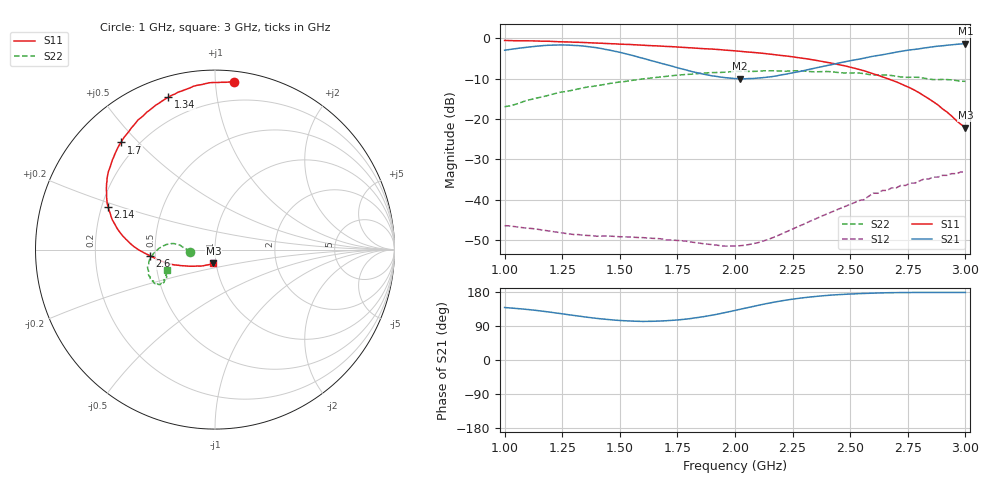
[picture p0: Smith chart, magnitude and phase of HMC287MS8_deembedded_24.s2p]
!Hittite Microwave Corporation
!12 Elizabeth Drive
!Chelmsford, MA 01824
!Tel: 978-250-3343
!Fax: 978-250-3373
!Device: HMC287MS8, 2.3-2.5 GHz LNA with AGC in 8-lead Grounded Base surface Mount Plastic Package
!Misc: Vdd = +3V Idd = 9.6 mA Vctl = 2.4V , DEEMBEDDED TO THE PINS OF THE DEVICE
# MHZ S MA R 50
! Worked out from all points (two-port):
!   101 points, 1 GHz to 3 GHz, reference 50 ohm
!   highest |S21| = -1.29 dB at 3 GHz (marker M1); lowest = -10.0 dB at 2.02 GHz (marker M2)
!   |S21| within 3 dB of the highest: start of sweep to 1.558 GHz; 2.616 GHz to end of sweep
!   lowest |S11| = -22.2 dB at 3 GHz (marker M3), VSWR 1.17, Z = 48.5 - j7.56 ohm
!   |S11| at or under -10 dB: 2.662 GHz to end of sweep
!   |S22| runs from -17.0 to -8.0 dB; largest |S21 - S12| = 0.88
!   S11 on the Smith chart (normalised r, x): 1 GHz: 0.07, +1.12; 1.34 GHz: 0.09, +0.74; 1.7 GHz: 0.14, +0.45; 2.14 GHz: 0.23, +0.18; 2.6 GHz: 0.47, -0.04; 3 GHz: 0.97, -0.15
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1000  0.941 83.6  0.712 138.6  0.004757 156.6  0.142 -173.5
1100  0.931 90.7  0.777 133.3  0.004425 163.5  0.171 177.0
1180  0.921 96.1  0.818 127.6  0.004137 170.3  0.193 173.3
1260  0.903 101.8  0.827 121.0  0.003828 179.2  0.218 172.3
1340  0.888 107.0  0.803 114.3  0.003628 -169.3  0.243 172.0
1400  0.873 111.0  0.765 109.8  0.003517 -161.6  0.258 173.2
1500  0.847 117.9  0.671 104.3  0.003467 -148.7  0.288 175.9
1600  0.822 124.6  0.566 101.8  0.003381 -136.5  0.314 179.0
1680  0.801 129.9  0.49 103.0  0.003268 -127.5  0.332 -177.8
1700  0.794 131.2  0.473 103.6  0.003175 -124.8  0.337 -177.2
1860  0.745 141.5  0.361 114.1  0.00285 -100.5  0.37 -171.0
2000  0.699 149.9  0.317 130.8  0.002662 -69.4  0.389 -165.3
2020  0.692 151.1  0.315 133.6  0.002682 -64.4  0.389 -164.3
2140  0.642 158.1  0.33 149.2  0.003185 -33.2  0.396 -159.8
2340  0.54 169.6  0.423 167.1  0.005617 2.0  0.385 -153.2
2560  0.396 -177.4  0.568 175.7  0.01 23.0  0.365 -147.7
2600  0.363 -174.6  0.6 176.4  0.012 24.5  0.352 -148.1
2620  0.349 -172.9  0.613 176.9  0.012 24.7  0.351 -148.6
2680  0.303 -167.7  0.657 177.7  0.014 26.2  0.346 -147.2
2760  0.243 -159.5  0.719 178.0  0.016 29.5  0.329 -149.5
2840  0.179 -149.1  0.772 178.2  0.018 32.1  0.313 -149.7
3000  0.078 -96.9  0.862 178.2  0.022 37.6  0.293 -156.9
